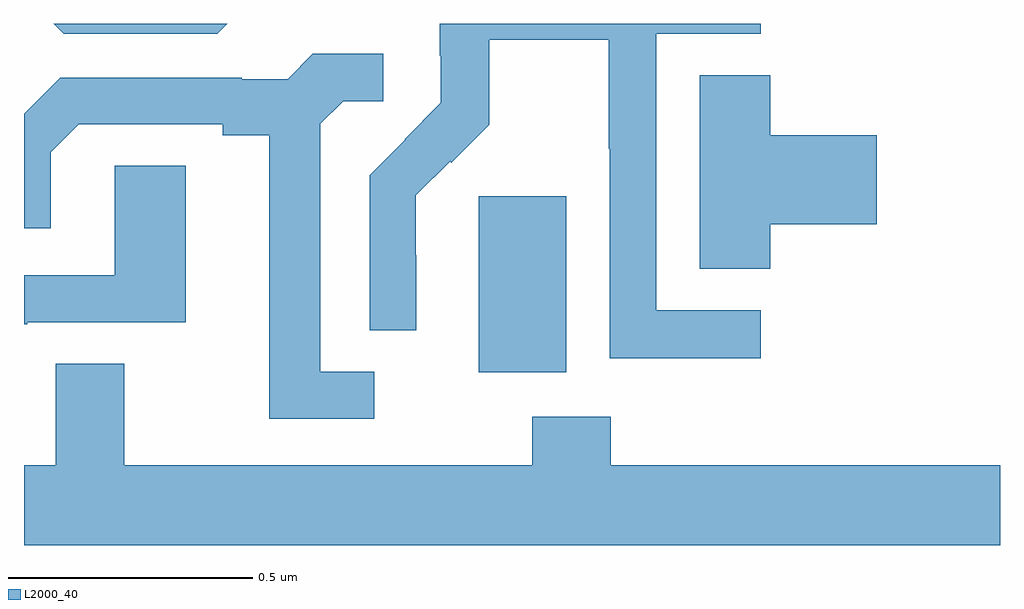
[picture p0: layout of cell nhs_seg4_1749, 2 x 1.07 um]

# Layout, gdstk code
import gdstk
lib = gdstk.Library(unit=1e-6, precision=1e-09)
def R(c, l, rs):  # rectangles x0, y0, x1, y1
    for r in rs: c.add(gdstk.rectangle(r[:2], r[2:], *l))
def P(c, l, *ps):  # polygons
    for p in ps: c.add(gdstk.Polygon(p, *l))
L2000_40 = (2000, 40)

nhs_seg4_1749 = lib.new_cell('nhs_seg4_1749')
R(nhs_seg4_1749, L2000_40, [(132.932,785.186,133.111,785.547)])
P(nhs_seg4_1749, L2000_40, [(132.416,785.9),(132.061,785.9),(132.081,785.88),(132.396,785.88)],
  [(133.51,785.313),(133.296,785.313),(133.296,785.88),(133.51,785.88),(133.51,785.9),(132.852,785.9),(132.852,785.835),(132.854,785.835),(132.854,785.738),(132.78,785.664),(132.781,785.663),(132.708,785.59),(132.708,785.272),(132.804,785.272),(132.804,785.426),(132.803,785.426),(132.803,785.549),(132.873,785.619),(132.876,785.616),(132.953,785.693),(132.953,785.868),(133.198,785.868),(133.198,785.644),(133.2,785.644),(133.2,785.215),(133.51,785.215)],
  [(132.718,785.187),(132.607,785.187),(132.607,785.695),(132.654,785.742),(132.736,785.742),(132.736,785.839),(132.592,785.839),(132.54,785.787),(132.446,785.787),(132.446,785.79),(132.074,785.79),(132,785.716),(132,785.481),(132.055,785.481),(132.055,785.637),(132.112,785.694),(132.407,785.694),(132.407,785.672),(132.503,785.672),(132.503,785.091),(132.718,785.091)],
  [(133.529,785.489),(133.747,785.489),(133.747,785.672),(133.529,785.672),(133.529,785.795),(133.385,785.795),(133.385,785.398),(133.529,785.398)],
  [(132.007,785.289),(132.331,785.289),(132.331,785.609),(132.186,785.609),(132.186,785.385),(132,785.385),(132,785.285),(132.007,785.285)],
  [(134,784.996),(133.202,784.996),(133.202,785.095),(133.042,785.095),(133.042,784.996),(132.205,784.996),(132.205,785.204),(132.065,785.204),(132.065,784.996),(132,784.996),(132,784.832),(134,784.832)])

lib.write_gds('nhs_seg4_1749.gds')
